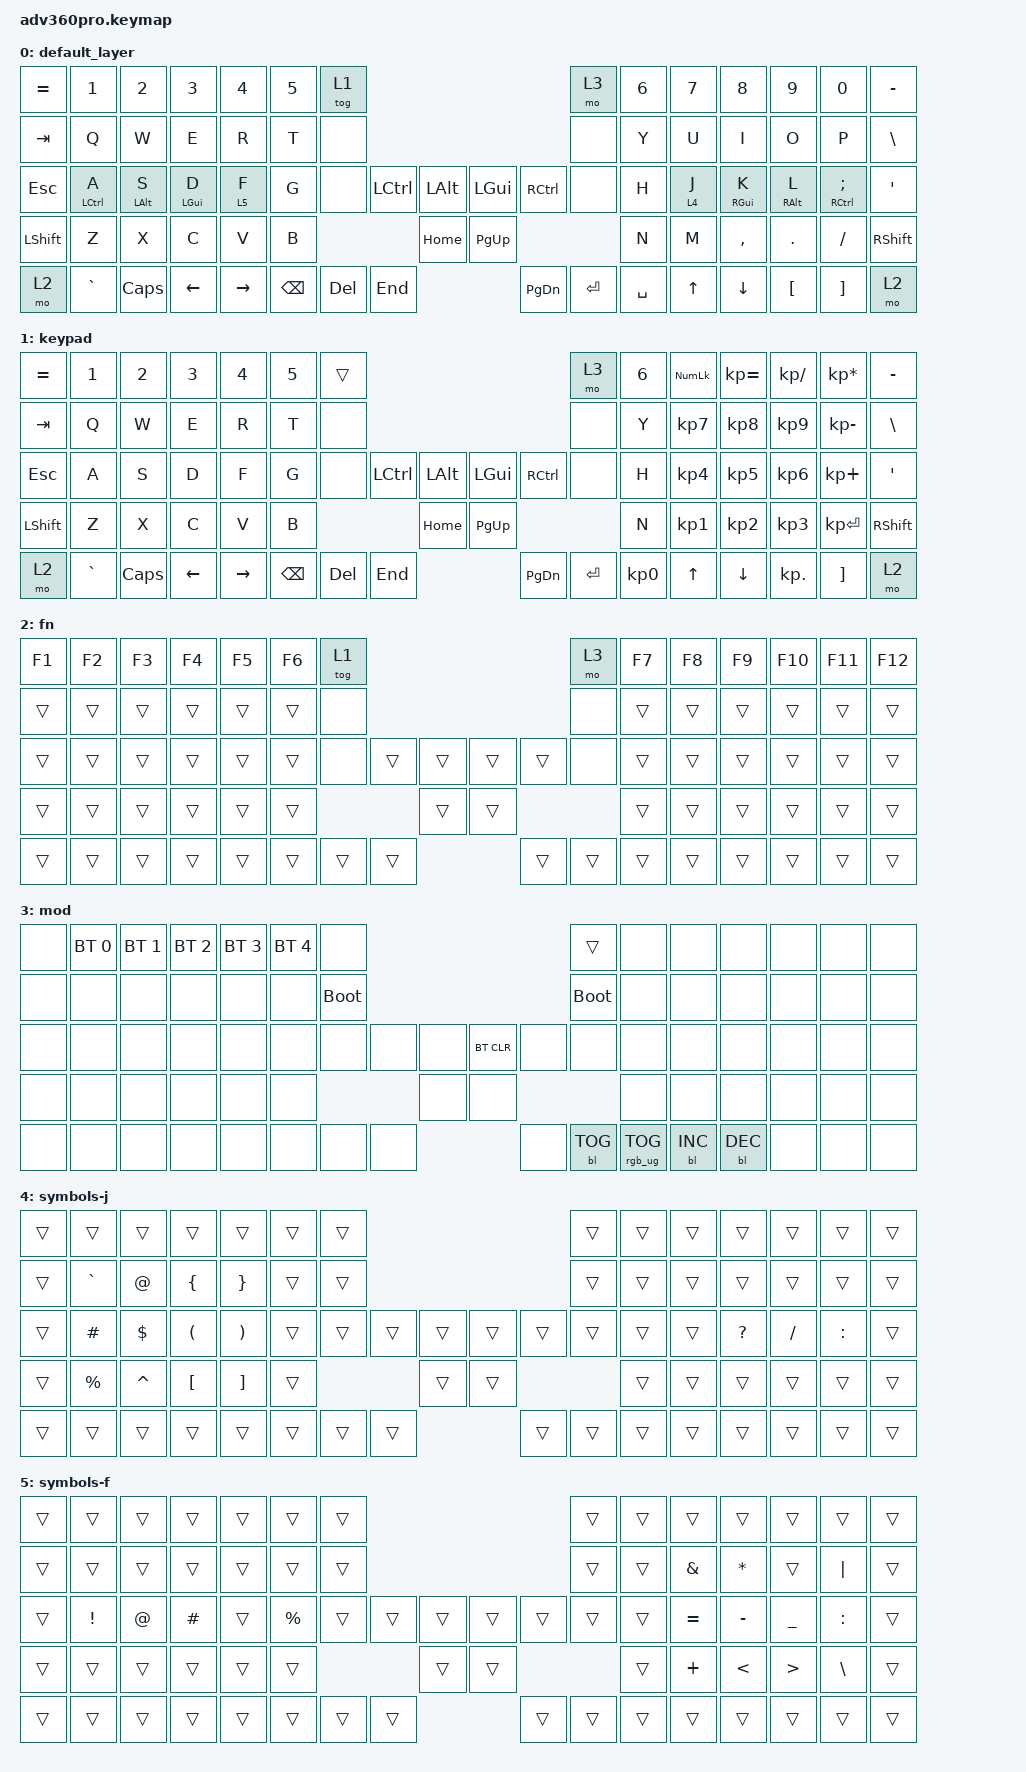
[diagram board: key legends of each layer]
#include <behaviors.dtsi>
#include <dt-bindings/zmk/backlight.h>
#include <dt-bindings/zmk/bt.h>
#include <dt-bindings/zmk/keys.h>
#include <dt-bindings/zmk/rgb.h>

/ {
    behaviors {
        long_tap: long_tap {
            compatible = "zmk,behavior-hold-tap";
            label = "LONG_TAP";
            bindings = <&kp>, <&kp>;

            #binding-cells = <2>;
            tapping-term-ms = <200>;
            flavor = "tap-preferred";
        };

        long_layer: long_layer {
            compatible = "zmk,behavior-hold-tap";
            label = "LONG_LAYER";
            bindings = <&mo>, <&kp>;

            #binding-cells = <2>;
            tapping-term-ms = <200>;
            flavor = "tap-preferred";
        };
    };

    keymap {
        compatible = "zmk,keymap";

        default_layer {
            bindings = <
&kp EQUAL  &kp N1                    &kp N2                &kp N3                &kp N4           &kp N5  &tog 1                                                                    &mo 3  &kp N6  &kp N7           &kp N8                 &kp N9                 &kp N0                &kp MINUS
&kp TAB    &kp Q                     &kp W                 &kp E                 &kp R            &kp T   &none                                                                     &none  &kp Y   &kp U            &kp I                  &kp O                  &kp P                 &kp BSLH
&kp ESC    &long_tap LEFT_CONTROL A  &long_tap LEFT_ALT S  &long_tap LEFT_GUI D  &long_layer 5 F  &kp G   &none             &kp LCTRL  &kp LALT    &kp LGUI   &kp RCTRL             &none  &kp H   &long_layer 4 J  &long_tap RIGHT_GUI K  &long_tap RIGHT_ALT L  &long_tap RCTRL SEMI  &kp SQT
&kp LSHFT  &kp Z                     &kp X                 &kp C                 &kp V            &kp B                                &kp HOME    &kp PG_UP                               &kp N   &kp M            &kp COMMA              &kp DOT                &kp FSLH              &kp RSHFT
&mo 2      &kp GRAVE                 &kp CAPS              &kp LEFT              &kp RIGHT                        &kp BSPC  &kp DEL    &kp END     &kp PG_DN  &kp ENTER  &kp SPACE                 &kp UP           &kp DOWN               &kp LBKT               &kp RBKT              &mo 2
            >;
        };

        keypad {
            bindings = <
&kp EQUAL  &kp N1     &kp N2    &kp N3    &kp N4     &kp N5  &trans                                                                    &mo 3  &kp N6  &kp KP_NUM  &kp KP_EQUAL  &kp KP_DIVIDE  &kp KP_MULTIPLY  &kp MINUS
&kp TAB    &kp Q      &kp W     &kp E     &kp R      &kp T   &none                                                                     &none  &kp Y   &kp KP_N7   &kp KP_N8     &kp KP_N9      &kp KP_MINUS     &kp BSLH
&kp ESC    &kp A      &kp S     &kp D     &kp F      &kp G   &none             &kp LCTRL  &kp LALT    &kp LGUI   &kp RCTRL             &none  &kp H   &kp KP_N4   &kp KP_N5     &kp KP_N6      &kp KP_PLUS      &kp SQT
&kp LSHFT  &kp Z      &kp X     &kp C     &kp V      &kp B                                &kp HOME    &kp PG_UP                               &kp N   &kp KP_N1   &kp KP_N2     &kp KP_N3      &kp KP_ENTER     &kp RSHFT
&mo 2      &kp GRAVE  &kp CAPS  &kp LEFT  &kp RIGHT                  &kp BSPC  &kp DEL    &kp END     &kp PG_DN  &kp ENTER  &kp KP_N0                 &kp UP      &kp DOWN      &kp KP_DOT     &kp RBKT         &mo 2
            >;
        };

        fn {
            bindings = <
&kp F1  &kp F2  &kp F3  &kp F4  &kp F5  &kp F6  &tog 1                                                    &mo 3  &kp F7  &kp F8  &kp F9  &kp F10  &kp F11  &kp F12
&trans  &trans  &trans  &trans  &trans  &trans  &none                                                     &none  &trans  &trans  &trans  &trans   &trans   &trans
&trans  &trans  &trans  &trans  &trans  &trans  &none           &trans  &trans    &trans  &trans          &none  &trans  &trans  &trans  &trans   &trans   &trans
&trans  &trans  &trans  &trans  &trans  &trans                          &trans    &trans                         &trans  &trans  &trans  &trans   &trans   &trans
&trans  &trans  &trans  &trans  &trans                  &trans  &trans  &trans    &trans  &trans  &trans                 &trans  &trans  &trans   &trans   &trans
            >;
        };

        mod {
            bindings = <
&none  &bt BT_SEL 0  &bt BT_SEL 1  &bt BT_SEL 2  &bt BT_SEL 3  &bt BT_SEL 4  &none                                                                        &trans       &none  &none       &none       &none  &none  &none
&none  &none         &none         &none         &none         &none         &bootloader                                                                  &bootloader  &none  &none       &none       &none  &none  &none
&none  &none         &none         &none         &none         &none         &none               &none  &none    &bt BT_CLR  &none                        &none        &none  &none       &none       &none  &none  &none
&none  &none         &none         &none         &none         &none                                    &none    &none                                                 &none  &none       &none       &none  &none  &none
&none  &none         &none         &none         &none                                    &none  &none  &none    &none       &bl BL_TOG  &rgb_ug RGB_TOG                      &bl BL_INC  &bl BL_DEC  &none  &none  &none
            >;
        };

        symbols-j {
            bindings = <
&trans  &trans       &trans       &trans                &trans                 &trans  &trans                                                    &trans  &trans  &trans  &trans     &trans     &trans     &trans
&trans  &kp GRAVE    &kp AT_SIGN  &kp LEFT_BRACE        &kp RIGHT_BRACE        &trans  &trans                                                    &trans  &trans  &trans  &trans     &trans     &trans     &trans
&trans  &kp HASH     &kp DOLLAR   &kp LEFT_PARENTHESIS  &kp RIGHT_PARENTHESIS  &trans  &trans          &trans  &trans    &trans  &trans          &trans  &trans  &trans  &kp QMARK  &kp SLASH  &kp COLON  &trans
&trans  &kp PERCENT  &kp CARET    &kp LEFT_BRACKET      &kp RIGHT_BRACKET      &trans                          &trans    &trans                          &trans  &trans  &trans     &trans     &trans     &trans
&trans  &trans       &trans       &trans                &trans                                 &trans  &trans  &trans    &trans  &trans  &trans                  &trans  &trans     &trans     &trans     &trans
            >;
        };

        symbols-f {
            bindings = <
&trans  &trans    &trans  &trans    &trans  &trans       &trans                                                    &trans  &trans  &trans     &trans     &trans          &trans         &trans
&trans  &trans    &trans  &trans    &trans  &trans       &trans                                                    &trans  &trans  &kp AMPS   &kp STAR   &trans          &kp PIPE       &trans
&trans  &kp EXCL  &kp AT  &kp HASH  &trans  &kp PERCENT  &trans          &trans  &trans    &trans  &trans          &trans  &trans  &kp EQUAL  &kp MINUS  &kp UNDERSCORE  &kp COLON      &trans
&trans  &trans    &trans  &trans    &trans  &trans                               &trans    &trans                          &trans  &kp PLUS   &kp LT     &kp GT          &kp BACKSLASH  &trans
&trans  &trans    &trans  &trans    &trans                       &trans  &trans  &trans    &trans  &trans  &trans                  &trans     &trans     &trans          &trans         &trans
            >;
        };
    };
};
